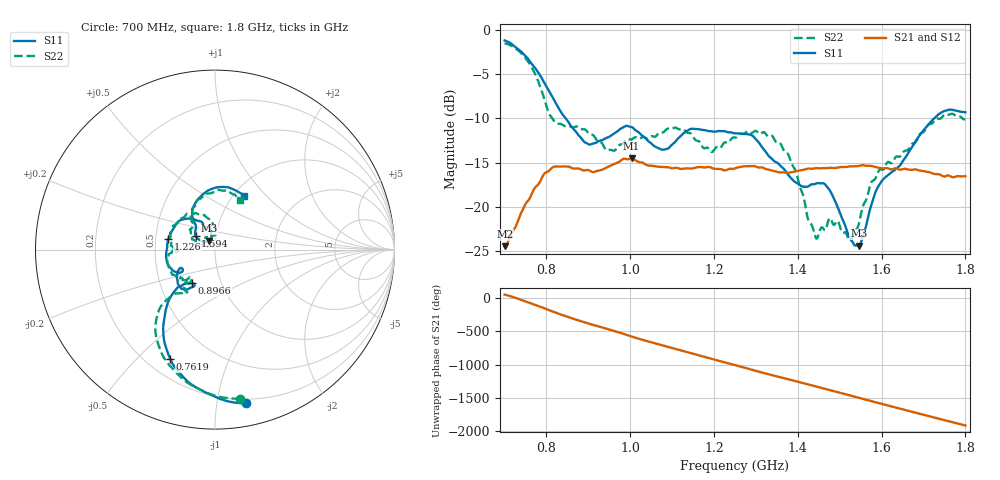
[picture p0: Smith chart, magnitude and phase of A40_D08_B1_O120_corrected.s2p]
! Created with skrf 1.9.0 (http://scikit-rf.org).
# Hz S RI R 50.0
!freq ReS11 ImS11 ReS21 ImS21 ReS12 ImS12 ReS22 ImS22
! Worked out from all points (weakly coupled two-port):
!   1601 points, 700 MHz to 1.8 GHz, reference 50 ohm
!   highest |S21| = -14.53 dB at 1.003 GHz (marker M1); lowest = -24.5 dB at 700.7 MHz (marker M2)
!   lowest |S11| = -24.4 dB at 1.546 GHz (marker M3), VSWR 1.13, Z = 46.4 + j4.57 ohm
!   |S11| at or under -10 dB: 845.9 MHz to 1.725 GHz (879.3 MHz wide, 68.4 % of centre)
!   |S22| runs from -23.9 to -1.5 dB; largest |S21 - S12| = 0.0036
!   S11 on the Smith chart (normalised r, x): 700 MHz: 0.17, -1.21; 761.9 MHz: 0.29, -0.63; 896.6 MHz: 0.72, -0.29; 1.226 GHz: 0.58, +0.07; 1.594 GHz: 0.80, +0.12; 1.8 GHz: 1.12, +0.76
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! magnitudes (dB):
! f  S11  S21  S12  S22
! 700 MHz  -1.2  -24.5  -24.3  -1.5
! 700.7 MHz  -1.2  -24.5  -24.2  -1.5
! 761.9 MHz  -3.6  -18.9  -18.8  -4.0
! 816.9 MHz  -7.8  -15.5  -15.6  -10.2
! 883.6 MHz  -12.3  -15.8  -15.7  -11.2
! 896.6 MHz  -12.8  -15.8  -15.9  -11.5
! 946.1 MHz  -12.2  -15.5  -15.5  -13.6
! 1.003 GHz  -11.0  -14.5  -14.7  -12.4
! 1.067 GHz  -13.4  -15.5  -15.4  -11.7
! 1.226 GHz  -11.4  -15.9  -15.8  -12.7
! 1.25 GHz  -11.7  -15.7  -15.6  -12.2
! 1.358 GHz  -15.3  -16.1  -16.1  -12.8
! 1.394 GHz  -17.2  -16.0  -16.0  -15.9
! 1.434 GHz  -17.5  -15.7  -15.7  -22.1
! 1.445 GHz  -17.3  -15.6  -15.6  -23.6
! 1.471 GHz  -17.9  -15.6  -15.6  -21.8
! 1.524 GHz  -23.5  -15.4  -15.4  -23.9
! 1.546 GHz  -24.4  -15.4  -15.4  -22.0
! 1.594 GHz  -17.6  -15.6  -15.6  -15.9
! 1.617 GHz  -16.3  -15.7  -15.7  -14.9
! 1.733 GHz  -9.6  -16.3  -16.3  -10.0
! 1.8 GHz  -9.3  -16.5  -16.5  -10.1
